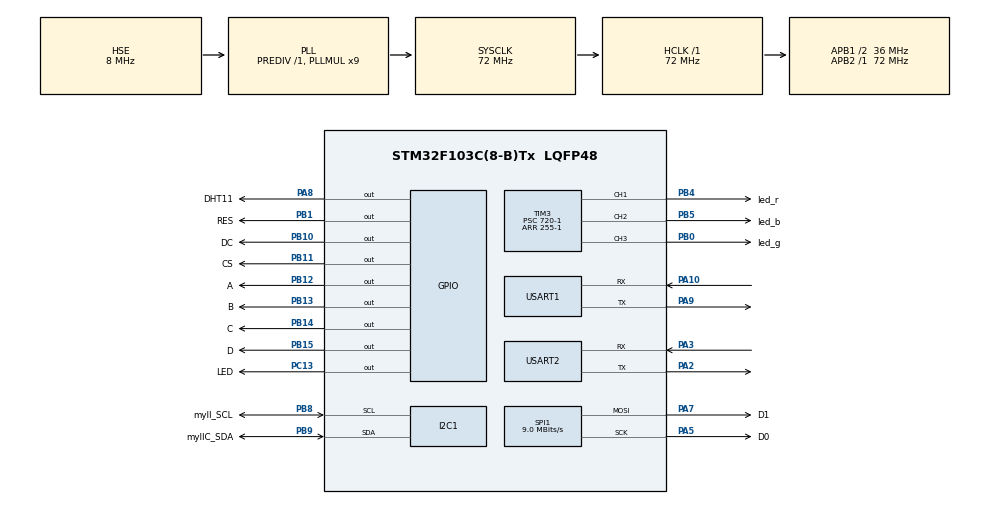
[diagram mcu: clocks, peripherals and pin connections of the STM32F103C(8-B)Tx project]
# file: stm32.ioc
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FREERTOS.Queues01=bh_data,1,uint16_t,0,Dynamic,NULL,NULL;dht_data,2,uint8_t,0,Dynamic,NULL,NULL;step_data,2,uint8_t,0,Dynamic,NULL,NULL;led_rgb,4,uint8_t,0,Dynamic,NULL,NULL
FREERTOS.Tasks01=esp8266Task,0,128,esp_task,Default,NULL,Dynamic,NULL,NULL;dht11Task,0,128,dht_task,Default,NULL,Dynamic,NULL,NULL;BH1750Task,0,128,bh_task,Default,NULL,Dynamic,NULL,NULL;LEDTask,0,128,led_task,Default,NULL,Dynamic,NULL,NULL;OLEDTask,0,128,oled_task,Default,NULL,Dynamic,NULL,NULL;STEPTask,0,128,step_task,Default,NULL,Dynamic,NULL,NULL;sysStart,0,128,sys_start,Default,NULL,Dynamic,NULL,NULL
Mcu.Family=STM32F1
Mcu.Name=STM32F103C(8-B)Tx
Mcu.Package=LQFP48
NVIC.PriorityGroup=NVIC_PRIORITYGROUP_4
NVIC.TIM2_IRQn=true\:5\:0\:false\:false\:true\:true\:true\:true\:true
NVIC.TIM4_IRQn=true\:15\:0\:true\:false\:true\:false\:false\:true\:true
NVIC.TimeBase=TIM4_IRQn
NVIC.TimeBaseIP=TIM4
NVIC.USART2_IRQn=true\:5\:0\:false\:false\:true\:true\:true\:true\:true
PA10.Mode=Asynchronous
PA10.Signal=USART1_RX
PA13.Mode=Serial_Wire
PA13.Signal=SYS_JTMS-SWDIO
PA14.Mode=Serial_Wire
PA14.Signal=SYS_JTCK-SWCLK
PA2.Mode=Asynchronous
PA2.Signal=USART2_TX
PA3.Mode=Asynchronous
PA3.Signal=USART2_RX
PA5.GPIO_Label=D0
PA5.Mode=TX_Only_Simplex_Unidirect_Master
PA5.Signal=SPI1_SCK
PA7.GPIO_Label=D1
PA7.Mode=TX_Only_Simplex_Unidirect_Master
PA7.Signal=SPI1_MOSI
PA8.GPIO_Label=DHT11
PA8.Signal=GPIO_Output
PA9.Mode=Asynchronous
PA9.Signal=USART1_TX
PB0.GPIO_Label=led_g
PB0.Signal=S_TIM3_CH3
PB1.GPIO_Label=RES
PB1.GPIO_PuPd=GPIO_PULLDOWN
PB1.PinState=GPIO_PIN_SET
PB1.Signal=GPIO_Output
PB10.GPIO_Label=DC
PB10.GPIO_PuPd=GPIO_PULLDOWN
PB10.GPIO_Speed=GPIO_SPEED_FREQ_HIGH
PB10.PinState=GPIO_PIN_SET
PB10.Signal=GPIO_Output
PB11.GPIO_Label=CS
PB11.GPIO_PuPd=GPIO_PULLDOWN
PB11.GPIO_Speed=GPIO_SPEED_FREQ_HIGH
PB11.PinState=GPIO_PIN_SET
PB11.Signal=GPIO_Output
PB12.GPIO_Label=A
PB12.GPIO_PuPd=GPIO_PULLDOWN
PB12.GPIO_Speed=GPIO_SPEED_FREQ_HIGH
PB12.Signal=GPIO_Output
PB13.GPIO_Label=B
PB13.GPIO_PuPd=GPIO_PULLDOWN
PB13.GPIO_Speed=GPIO_SPEED_FREQ_HIGH
PB13.Signal=GPIO_Output
PB14.GPIO_Label=C
PB14.GPIO_PuPd=GPIO_PULLDOWN
PB14.GPIO_Speed=GPIO_SPEED_FREQ_HIGH
PB14.Signal=GPIO_Output
PB15.GPIO_Label=D
PB15.GPIO_PuPd=GPIO_PULLDOWN
PB15.GPIO_Speed=GPIO_SPEED_FREQ_HIGH
PB15.Signal=GPIO_Output
PB4.GPIO_Label=led_r
PB4.Signal=S_TIM3_CH1
PB5.GPIO_Label=led_b
PB5.Signal=S_TIM3_CH2
PB8.GPIO_Label=myII_SCL
PB8.Mode=I2C
PB8.Signal=I2C1_SCL
PB9.GPIO_Label=myIIC_SDA
PB9.Mode=I2C
PB9.Signal=I2C1_SDA
PC13-TAMPER-RTC.GPIO_Label=LED
PC13-TAMPER-RTC.GPIO_PuPd=GPIO_PULLUP
PC13-TAMPER-RTC.PinState=GPIO_PIN_SET
PC13-TAMPER-RTC.Signal=GPIO_Output
PD0-OSC_IN.Mode=HSE-External-Oscillator
PD0-OSC_IN.Signal=RCC_OSC_IN
PD1-OSC_OUT.Mode=HSE-External-Oscillator
PD1-OSC_OUT.Signal=RCC_OSC_OUT
ProjectManager.HeapSize=0x200
ProjectManager.StackSize=0x400
ProjectManager.TargetToolchain=MDK-ARM V5.32
RCC.AHBFreq_Value=72000000
RCC.APB1CLKDivider=RCC_HCLK_DIV2
RCC.APB1Freq_Value=36000000
RCC.APB1TimFreq_Value=72000000
RCC.APB2Freq_Value=72000000
RCC.APB2TimFreq_Value=72000000
RCC.HCLKFreq_Value=72000000
RCC.PLLMUL=RCC_PLL_MUL9
RCC.PLLSourceVirtual=RCC_PLLSOURCE_HSE
RCC.SYSCLKFreq_VALUE=72000000
RCC.SYSCLKSource=RCC_SYSCLKSOURCE_PLLCLK
RCC.USBFreq_Value=72000000
SH.S_TIM3_CH1.0=TIM3_CH1,PWM Generation1 CH1
SH.S_TIM3_CH2.0=TIM3_CH2,PWM Generation2 CH2
SH.S_TIM3_CH3.0=TIM3_CH3,PWM Generation3 CH3
SPI1.BaudRatePrescaler=SPI_BAUDRATEPRESCALER_8
SPI1.CLKPhase=SPI_PHASE_2EDGE
SPI1.CLKPolarity=SPI_POLARITY_HIGH
SPI1.CalculateBaudRate=9.0 MBits/s
SPI1.Direction=SPI_DIRECTION_2LINES
SPI1.Mode=SPI_MODE_MASTER
SPI1.VirtualType=VM_MASTER
TIM2.Period=100
TIM2.Prescaler=7200-1
TIM3.Channel-PWM\ Generation1\ CH1=TIM_CHANNEL_1
TIM3.Channel-PWM\ Generation2\ CH2=TIM_CHANNEL_2
TIM3.Channel-PWM\ Generation3\ CH3=TIM_CHANNEL_3
TIM3.Period=255-1
TIM3.Prescaler=720-1
USART1.VirtualMode=VM_ASYNC
USART2.VirtualMode=VM_ASYNC
VP_FREERTOS_VS_CMSIS_V1.Mode=CMSIS_V1
VP_SYS_VS_tim4.Mode=TIM4
VP_TIM2_VS_ClockSourceINT.Mode=Internal
VP_TIM3_VS_ClockSourceINT.Mode=Internal
board=custom

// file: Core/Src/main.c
/* USER CODE BEGIN Header */
/**
  ******************************************************************************
  * @file           : main.c
  * @brief          : Main program body
  ******************************************************************************
  * @attention
  *
  * Copyright (c) 2023 STMicroelectronics.
  * All rights reserved.
  *
  * This software is licensed under terms that can be found in the LICENSE file
  * in the root directory of this software component.
  * If no LICENSE file comes with this software, it is provided AS-IS.
  *
  ******************************************************************************
  */
/* USER CODE END Header */
#include "main.h"
#include "cmsis_os.h"
#include "i2c.h"
#include "spi.h"
#include "tim.h"
#include "usart.h"
#include "gpio.h"

/* USER CODE BEGIN Includes */
#include "main_program.h"
//#include "systasks.h"
/* USER CODE END Includes */

void SystemClock_Config(void);
void MX_FREERTOS_Init(void);

int main(void)
{

  /* MCU Configuration--------------------------------------------------------*/

  /* Reset of all peripherals, Initializes the Flash interface and the Systick. */
  HAL_Init();

  /* Configure the system clock */
  SystemClock_Config();

  /* Initialize all configured peripherals */
  MX_GPIO_Init();
  MX_I2C1_Init();
  MX_TIM2_Init();
  MX_USART1_UART_Init();
  MX_USART2_UART_Init();
  MX_SPI1_Init();
  MX_TIM3_Init();
  /* USER CODE BEGIN 2 */
  user_init_program();
  /* USER CODE END 2 */

  /* Call init function for freertos objects (in cmsis_os2.c) */
  MX_FREERTOS_Init();

  /* Start scheduler */
  osKernelStart();

  /* We should never get here as control is now taken by the scheduler */

  /* Infinite loop */
  while (1)
  {

    /* USER CODE BEGIN 3 */
//    user_main_program();
  }
  /* USER CODE END 3 */
}

void SystemClock_Config(void)
{
  RCC_OscInitTypeDef RCC_OscInitStruct = {0};
  RCC_ClkInitTypeDef RCC_ClkInitStruct = {0};

  /** Initializes the RCC Oscillators according to the specified parameters
  * in the RCC_OscInitTypeDef structure.
  */
  RCC_OscInitStruct.OscillatorType = RCC_OSCILLATORTYPE_HSE;
  RCC_OscInitStruct.HSEState = RCC_HSE_ON;
  RCC_OscInitStruct.HSEPredivValue = RCC_HSE_PREDIV_DIV1;
  RCC_OscInitStruct.HSIState = RCC_HSI_ON;
  RCC_OscInitStruct.PLL.PLLState = RCC_PLL_ON;
  RCC_OscInitStruct.PLL.PLLSource = RCC_PLLSOURCE_HSE;
  RCC_OscInitStruct.PLL.PLLMUL = RCC_PLL_MUL9;
  if (HAL_RCC_OscConfig(&RCC_OscInitStruct) != HAL_OK)
  {
    Error_Handler();
  }

  /** Initializes the CPU, AHB and APB buses clocks
  */
  RCC_ClkInitStruct.ClockType = RCC_CLOCKTYPE_HCLK|RCC_CLOCKTYPE_SYSCLK
                              |RCC_CLOCKTYPE_PCLK1|RCC_CLOCKTYPE_PCLK2;
  RCC_ClkInitStruct.SYSCLKSource = RCC_SYSCLKSOURCE_PLLCLK;
  RCC_ClkInitStruct.AHBCLKDivider = RCC_SYSCLK_DIV1;
  RCC_ClkInitStruct.APB1CLKDivider = RCC_HCLK_DIV2;
  RCC_ClkInitStruct.APB2CLKDivider = RCC_HCLK_DIV1;

  if (HAL_RCC_ClockConfig(&RCC_ClkInitStruct, FLASH_LATENCY_2) != HAL_OK)
  {
    Error_Handler();
  }
}

void HAL_TIM_PeriodElapsedCallback(TIM_HandleTypeDef *htim)
{
  if (htim->Instance == TIM4) {
    HAL_IncTick();
  }
}

void Error_Handler(void)
{
  __disable_irq();
  while (1)
  {
  }
}

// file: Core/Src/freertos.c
/* USER CODE BEGIN Header */
/**
  ******************************************************************************
  * File Name          : freertos.c
  * Description        : Code for freertos applications
  ******************************************************************************
  * @attention
  *
  * Copyright (c) 2024 STMicroelectronics.
  * All rights reserved.
  *
  * This software is licensed under terms that can be found in the LICENSE file
  * in the root directory of this software component.
  * If no LICENSE file comes with this software, it is provided AS-IS.
  *
  ******************************************************************************
  */
/* USER CODE END Header */

#include "FreeRTOS.h"
#include "task.h"
#include "main.h"
#include "cmsis_os.h"

/* USER CODE BEGIN Includes */
#include "oled.h"
#include "dht11.h"
#include "esp8266.h"
#include "led.h"
#include "bh1750.h"
#include "step_motor.h"
#include "uart_printf.h"
/* USER CODE END Includes */

osThreadId esp8266TaskHandle;
osThreadId dht11TaskHandle;
osThreadId BH1750TaskHandle;
osThreadId LEDTaskHandle;
osThreadId OLEDTaskHandle;
osThreadId STEPTaskHandle;
osThreadId sysStartHandle;
osMessageQId bh_dataHandle;
osMessageQId dht_dataHandle;
osMessageQId step_dataHandle;
osMessageQId led_rgbHandle;

void esp_task(void const * argument);
void dht_task(void const * argument);
void bh_task(void const * argument);
void led_task(void const * argument);
void oled_task(void const * argument);
void step_task(void const * argument);
void sys_start(void const * argument);

void MX_FREERTOS_Init(void); /* (MISRA C 2004 rule 8.1) */

/* GetIdleTaskMemory prototype (linked to static allocation support) */
void vApplicationGetIdleTaskMemory( StaticTask_t **ppxIdleTaskTCBBuffer, StackType_t **ppxIdleTaskStackBuffer, uint32_t *pulIdleTaskStackSize );

/* USER CODE BEGIN GET_IDLE_TASK_MEMORY */
static StaticTask_t xIdleTaskTCBBuffer;
static StackType_t xIdleStack[configMINIMAL_STACK_SIZE];

void vApplicationGetIdleTaskMemory( StaticTask_t **ppxIdleTaskTCBBuffer, StackType_t **ppxIdleTaskStackBuffer, uint32_t *pulIdleTaskStackSize )
{
  *ppxIdleTaskTCBBuffer = &xIdleTaskTCBBuffer;
  *ppxIdleTaskStackBuffer = &xIdleStack[0];
  *pulIdleTaskStackSize = configMINIMAL_STACK_SIZE;
  /* place for user code */
}
/* USER CODE END GET_IDLE_TASK_MEMORY */

void MX_FREERTOS_Init(void) {

  /* definition and creation of sysStart */
	/* ����һ���������� */
  osThreadDef(sysStart, sys_start, osPriorityNormal, 0, 128);
  sysStartHandle = osThreadCreate(osThread(sysStart), NULL);

}

void esp_task(void const * argument)
{
  /* USER CODE BEGIN esp_task */
	uint8_t temp_value =0;
	uint8_t humi_value =0;
	uint16_t light = 0;
	uint8_t num_value =0;
	uint8_t direct_value =0;
	uint8_t led_status =0;
	uint8_t Red_value =0;
	uint8_t Blue_value =0;
	uint8_t Green_value =0;
  /* Infinite loop */
  for(;;)
  {
		esp8266_receive_msg(&num_value,&direct_value,&led_status,&Red_value,&Blue_value,&Green_value);
		xQueueSend(step_dataHandle,&num_value,0);
		xQueueSend(step_dataHandle,&direct_value,0);
		xQueueSend(led_rgbHandle,&led_status,0);
		xQueueSend(led_rgbHandle,&Red_value,0);
		xQueueSend(led_rgbHandle,&Blue_value,0);
		xQueueSend(led_rgbHandle,&Green_value,0);
		xQueuePeek(bh_dataHandle,&light,portMAX_DELAY);
		xQueuePeek(dht_dataHandle,&temp_value,portMAX_DELAY);
		xQueuePeek(dht_dataHandle,&humi_value,portMAX_DELAY);
		esp8266_send_msg(temp_value,humi_value,light);
    osDelay(1000);
  }
  /* USER CODE END esp_task */
}

void dht_task(void const * argument)
{
  /* USER CODE BEGIN dht_task */
	uint8_t temp_value =0;
	uint8_t humi_value =0;
  /* Infinite loop */
  for(;;)
  {
		dht11_read_data(&temp_value,&humi_value);
		xQueueOverwrite(dht_dataHandle,&temp_value);
		xQueueOverwrite(dht_dataHandle,&humi_value);
		osDelay(2000);
  }
  /* USER CODE END dht_task */
}

void bh_task(void const * argument)
{
  /* USER CODE BEGIN bh_task */
	uint8_t light_temp[2];
	uint16_t light = 0;
  /* Infinite loop */
  for(;;)
  {
		BH1750_Read(light_temp);
		light=(light_temp[0]<<8)|light_temp[1];
		xQueueOverwrite(bh_dataHandle,&light);
    osDelay(1000);
  }
  /* USER CODE END bh_task */
}

void led_task(void const * argument)
{
  /* USER CODE BEGIN led_task */
	uint8_t led_status =0;
	uint8_t Red_value =0;
	uint8_t Blue_value =0;
	uint8_t Green_value =0;
  /* Infinite loop */
  for(;;)
  {
		xQueueReceive(led_rgbHandle,&led_status,portMAX_DELAY);
		xQueueReceive(led_rgbHandle,&Red_value,portMAX_DELAY);
		xQueueReceive(led_rgbHandle,&Blue_value,portMAX_DELAY);
		xQueueReceive(led_rgbHandle,&Green_value,portMAX_DELAY);
    set_led(led_status);
		set_rgb(255-Red_value, 255-Green_value, 255-Blue_value);
    osDelay(1000);
  }
  /* USER CODE END led_task */
}

void oled_task(void const * argument)
{
  /* USER CODE BEGIN oled_task */
	uint8_t temp_value =0;
	uint8_t humi_value =0;
	uint16_t light = 0;
  /* Infinite loop */
  for(;;)
  {
		xQueuePeek(bh_dataHandle,&light,portMAX_DELAY);
		xQueuePeek(dht_dataHandle,&temp_value,portMAX_DELAY);
		xQueuePeek(dht_dataHandle,&humi_value,portMAX_DELAY);
		OLED_ShowNum(16,2,temp_value,16);
		OLED_ShowNum(80,2,humi_value,16);
		OLED_ShowNum(16,4,light,16);
    osDelay(1000);
  }
  /* USER CODE END oled_task */
}

void step_task(void const * argument)
{
  /* USER CODE BEGIN step_task */
	uint8_t num_value =0;
	uint8_t direct_value =0;
  /* Infinite loop */
  for(;;)
  {
		xQueueReceive(step_dataHandle,&num_value,portMAX_DELAY);
		xQueueReceive(step_dataHandle,&direct_value,portMAX_DELAY);
		rotate(direct_value,num_value);
    osDelay(10);
  }
  /* USER CODE END step_task */
}

void sys_start(void const * argument)
{
  /* USER CODE BEGIN sys_start */

	/* �����ٽ���:�����ٽ�����Ĵ��벻�ᱻ��� */
	taskENTER_CRITICAL();

  /* Create the queue(s) */
  /* definition and creation of bh_data */
  osMessageQDef(bh_data, 1, uint16_t);
  bh_dataHandle = osMessageCreate(osMessageQ(bh_data), NULL);

  /* definition and creation of dht_data */
  osMessageQDef(dht_data, 2, uint8_t);
  dht_dataHandle = osMessageCreate(osMessageQ(dht_data), NULL);

  /* definition and creation of step_data */
  osMessageQDef(step_data, 2, uint8_t);
  step_dataHandle = osMessageCreate(osMessageQ(step_data), NULL);

  /* definition and creation of led_rgb */
  osMessageQDef(led_rgb, 4, uint8_t);
  led_rgbHandle = osMessageCreate(osMessageQ(led_rgb), NULL);

  /* USER CODE BEGIN RTOS_QUEUES */
  /* add queues, ... */
  /* USER CODE END RTOS_QUEUES */

  /* Create the thread(s) */
  /* definition and creation of esp8266Task */
  osThreadDef(esp8266Task, esp_task, osPriorityNormal, 0, 128);
  esp8266TaskHandle = osThreadCreate(osThread(esp8266Task), NULL);

  /* definition and creation of dht11Task */
  osThreadDef(dht11Task, dht_task, osPriorityNormal, 0, 128);
  dht11TaskHandle = osThreadCreate(osThread(dht11Task), NULL);

  /* definition and creation of BH1750Task */
  osThreadDef(BH1750Task, bh_task, osPriorityNormal, 0, 128);
  BH1750TaskHandle = osThreadCreate(osThread(BH1750Task), NULL);

  /* definition and creation of LEDTask */
  osThreadDef(LEDTask, led_task, osPriorityNormal, 0, 128);
  LEDTaskHandle = osThreadCreate(osThread(LEDTask), NULL);

  /* definition and creation of OLEDTask */
  osThreadDef(OLEDTask, oled_task, osPriorityNormal, 0, 128);
  OLEDTaskHandle = osThreadCreate(osThread(OLEDTask), NULL);

  /* definition and creation of STEPTask */
  osThreadDef(STEPTask, step_task, osPriorityNormal, 0, 128);
  STEPTaskHandle = osThreadCreate(osThread(STEPTask), NULL);

	/* ��������ֻ��Ҫִ��һ�μ��ɣ������ɾ���Լ� */
	vTaskDelete(NULL);

	/* �˳��ٽ��� */
	taskEXIT_CRITICAL();

  /* USER CODE END sys_start */
}
